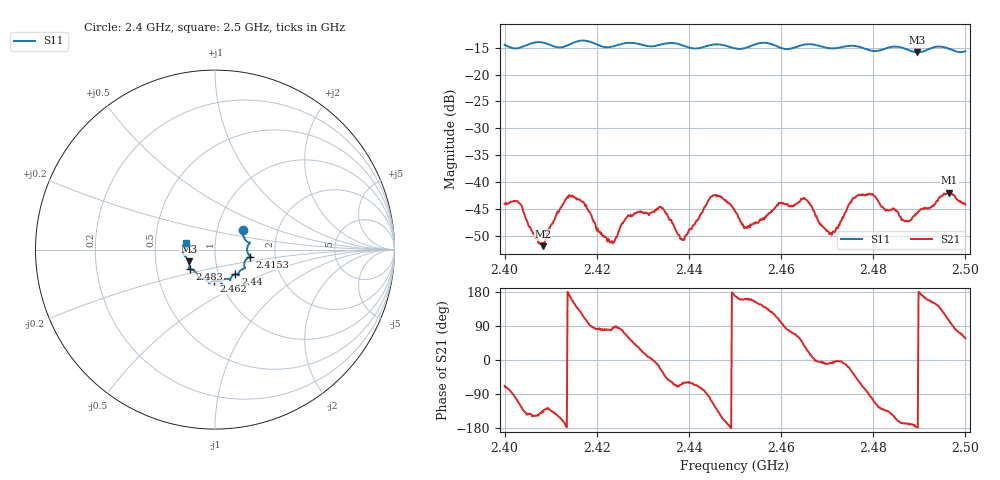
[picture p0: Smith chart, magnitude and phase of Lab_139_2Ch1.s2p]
# Hz S RI R 50
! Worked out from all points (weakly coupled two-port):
!   601 points, 2.4 GHz to 2.5 GHz, reference 50 ohm
!   highest |S21| = -41.94 dB at 2.4965 GHz (marker M1); lowest = -51.9 dB at 2.4083 GHz (marker M2)
!   lowest |S11| = -15.9 dB at 2.4895 GHz (marker M3), VSWR 1.38, Z = 37 - j4.99 ohm
!   |S11| at or under -10 dB: start of sweep to end of sweep
!   S12 and S22 are empty: the file has one direction only
!   S11 on the Smith chart (normalised r, x): 2.4 GHz: 1.33, +0.29; 2.4153 GHz: 1.48, -0.12; 2.44 GHz: 1.20, -0.34; 2.462 GHz: 0.93, -0.33; 2.483 GHz: 0.74, -0.17; 2.5 GHz: 0.72, +0.06
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2.4e9  0.1553 0.1066  0.00236 -0.00587  0 0  0 0
2.403167e9  0.167 0.0571  -0.00275 -0.00581  0 0  0 0
2.408333e9  0.1943 0.0367  -0.00188 -0.00173  0 0  0 0
2.415333e9  0.1966 -0.0384  -0.0058 0.00416  0 0  0 0
2.416667e9  0.2024 -0.0428  -0.00367 0.00555  0 0  0 0
2.423333e9  0.1628 -0.0803  0.000466 0.00281  0 0  0 0
2.426833e9  0.1681 -0.1022  0.00244 0.00431  0 0  0 0
2.433333e9  0.1311 -0.1334  0.00554 -0.00137  0 0  0 0
2.4385e9  0.126 -0.1383  0.00138 -0.00257  0 0  0 0
2.44e9  0.1138 -0.1366  0.00178 -0.0031  0 0  0 0
2.445167e9  0.0848 -0.1691  -0.00308 -0.00686  0 0  0 0
2.45e9  0.0647 -0.1626  -0.0053 0.00104  0 0  0 0
2.4525e9  0.041 -0.1728  -0.00354 0.00132  0 0  0 0
2.462e9  -0.00538 -0.1734  0.00154 0.00577  0 0  0 0
2.466667e9  -0.0343 -0.1875  0.00588 0.00095  0 0  0 0
2.470667e9  -0.0548 -0.166  0.00331 -0.000419  0 0  0 0
2.476833e9  -0.0956 -0.154  0.00423 -0.00634  0 0  0 0
2.483e9  -0.1377 -0.1097  -0.00392 -0.00394  0 0  0 0
2.483333e9  -0.14 -0.1094  -0.00396 -0.00377  0 0  0 0
2.4895e9  -0.1462 -0.0658  -0.00517 -0.000336  0 0  0 0
2.4965e9  -0.1727 -0.0117  -0.00184 0.00779  0 0  0 0
2.5e9  -0.1598 0.0391  0.00336 0.00522  0 0  0 0
